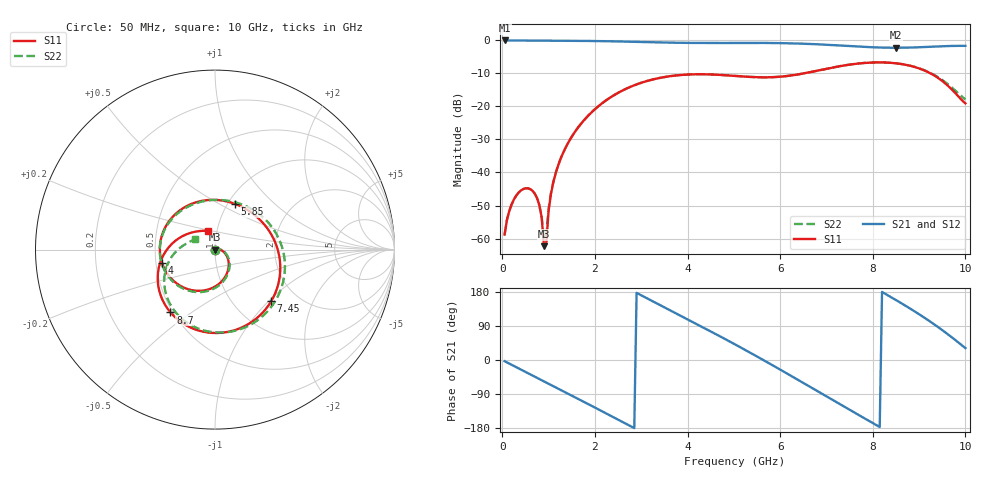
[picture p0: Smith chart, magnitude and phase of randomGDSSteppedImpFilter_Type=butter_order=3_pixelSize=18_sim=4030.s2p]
! freq	dB(S11)	phase(S11)	dB(S12)	phase(S12)
!  dB(S21)	phase(S21)	dB(S22)	phase(S22)
!S-par simulation data
#  GHz  S  DB  R 50
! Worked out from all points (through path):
!   200 points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, 50 MHz to 10 GHz, reference 50 ohm
!   highest |S21| = -0.01 dB at 50 MHz (marker M1); lowest = -2.2 dB at 8.5 GHz (marker M2)
!   group delay of S21, straight-line fit = 187 ps
!   lowest |S11| = -62.3 dB at 900 MHz (marker M3), VSWR 1.00, Z = 49.9 - j0.0281 ohm
!   |S11| at or under -10 dB: start of sweep to 6.504 GHz; 9.249 GHz to end of sweep
!   |S22| runs from -60.0 to -6.6 dB; largest |S21 - S12| = 0
!   S11 on the Smith chart (normalised r, x): 50 MHz: 1.00, -0.00; 4 GHz: 0.54, -0.09; 5.85 GHz: 1.08, +0.60; 7.45 GHz: 1.48, -1.04; 8.7 GHz: 0.49, -0.42; 10 GHz: 0.91, +0.19
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0.05  -58.80 -74.9  -0.01 -3.2  -0.01 -3.2  -58.82 -75.0
0.25  -48.19 -98.0  -0.02 -15.7  -0.02 -15.7  -48.21 -98.4
0.55  -44.78 -122.5  -0.05 -34.4  -0.05 -34.4  -44.81 -124.2
0.8  -49.87 -141.1  -0.06 -49.9  -0.06 -49.9  -49.88 -148.2
0.9  -62.31 -158.4  -0.07 -56.2  -0.07 -56.2  -60.05 167.1
0.95  -61.53 44.1  -0.07 -59.3  -0.07 -59.3  -58.58 75.2
1.05  -46.56 26.4  -0.08 -65.6  -0.08 -65.6  -46.29 35.6
1.2  -38.13 15.6  -0.09 -75.0  -0.09 -75.0  -38.04 20.5
1.75  -24.39 -20.5  -0.14 -109.7  -0.14 -109.7  -24.37 -17.5
2.6  -15.14 -75.5  -0.33 -163.8  -0.33 -163.8  -15.12 -72.1
3.4  -11.35 -126.9  -0.60 145.5  -0.60 145.5  -11.34 -122.1
4  -10.34 -165.5  -0.74 107.6  -0.74 107.6  -10.32 -158.9
4.5  -10.30 161.4  -0.78 75.6  -0.78 75.6  -10.29 170.5
5.05  -10.77 123.7  -0.76 39.6  -0.76 39.6  -10.76 136.2
5.85  -11.12 66.7  -0.79 -14.8  -0.79 -14.8  -11.11 84.1
6.7  -9.46 7.5  -1.10 -74.7  -1.10 -74.7  -9.45 24.3
7.45  -7.43 -42.6  -1.67 -127.9  -1.67 -127.9  -7.41 -29.3
8.35  -6.75 -101.7  -2.21 169.0  -2.21 169.0  -6.73 -90.5
8.5  -6.93 -111.7  -2.22 158.3  -2.22 158.3  -6.91 -100.5
8.7  -7.35 -125.3  -2.19 143.7  -2.19 143.7  -7.33 -114.0
9.4  -11.27 -178.4  -1.82 87.8  -1.82 87.8  -11.06 -161.9
10  -19.05 109.8  -1.64 31.3  -1.64 31.3  -17.88 153.5
